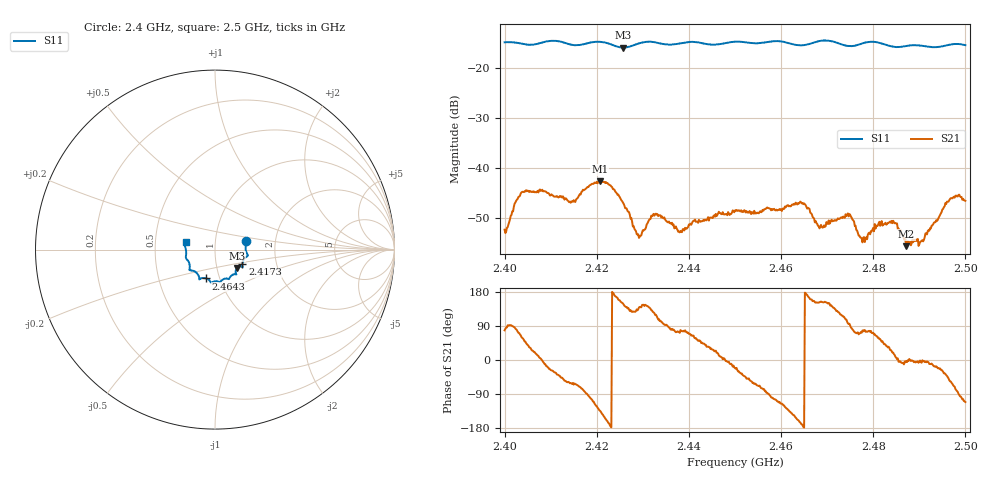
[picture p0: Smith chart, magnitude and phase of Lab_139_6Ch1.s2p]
# Hz S RI R 50
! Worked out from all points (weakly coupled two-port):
!   601 points, 2.4 GHz to 2.5 GHz, reference 50 ohm
!   highest |S21| = -42.65 dB at 2.4207 GHz (marker M1); lowest = -55.7 dB at 2.4872 GHz (marker M2)
!   lowest |S11| = -15.9 dB at 2.4257 GHz (marker M3), VSWR 1.38, Z = 62.4 - j13.1 ohm
!   |S11| at or under -10 dB: start of sweep to end of sweep
!   S12 and S22 are empty: the file has one direction only
!   S11 on the Smith chart (normalised r, x): 2.4 GHz: 1.41, +0.14; 2.4173 GHz: 1.34, -0.23; 2.4643 GHz: 0.86, -0.28; 2.5 GHz: 0.72, +0.06
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2.4e9  0.1732 0.0491  0.000488 0.00236  0 0  0 0
2.404167e9  0.1714 0.0229  0.00342 0.00459  0 0  0 0
2.414333e9  0.1637 -0.0494  0.0022 -0.00391  0 0  0 0
2.416667e9  0.1532 -0.0747  0.00144 -0.00556  0 0  0 0
2.417333e9  0.1524 -0.0824  0.000793 -0.00599  0 0  0 0
2.420667e9  0.1542 -0.0972  -0.00508 -0.00534  0 0  0 0
2.425667e9  0.1225 -0.1021  -0.00389 0.0023  0 0  0 0
2.429167e9  0.116 -0.1321  -0.0015 0.00131  0 0  0 0
2.433333e9  0.1128 -0.1369  -0.000951 0.00316  0 0  0 0
2.438e9  0.0829 -0.1546  0.000711 0.00215  0 0  0 0
2.45e9  0.0295 -0.1806  0.0035 -0.00137  0 0  0 0
2.464333e9  -0.0499 -0.1604  -0.00444 -0.000906  0 0  0 0
2.466667e9  -0.0758 -0.1596  -0.00322 0.00121  0 0  0 0
2.468667e9  -0.0867 -0.1655  -0.00242 0.00117  0 0  0 0
2.474833e9  -0.1045 -0.1279  -0.000344 0.00344  0 0  0 0
2.477833e9  -0.1337 -0.1158  0.000502 0.00194  0 0  0 0
2.483333e9  -0.1406 -0.0899  0.0023 0.00162  0 0  0 0
2.484667e9  -0.1435 -0.0755  0.00272 0.000621  0 0  0 0
2.487167e9  -0.1561 -0.0557  0.00165 -6.92e-05  0 0  0 0
2.490333e9  -0.1623 -0.0391  0.00183 -0.000182  0 0  0 0
2.497e9  -0.1699 0.0262  0.00247 -0.00432  0 0  0 0
2.5e9  -0.1636 0.042  -0.00168 -0.00438  0 0  0 0
